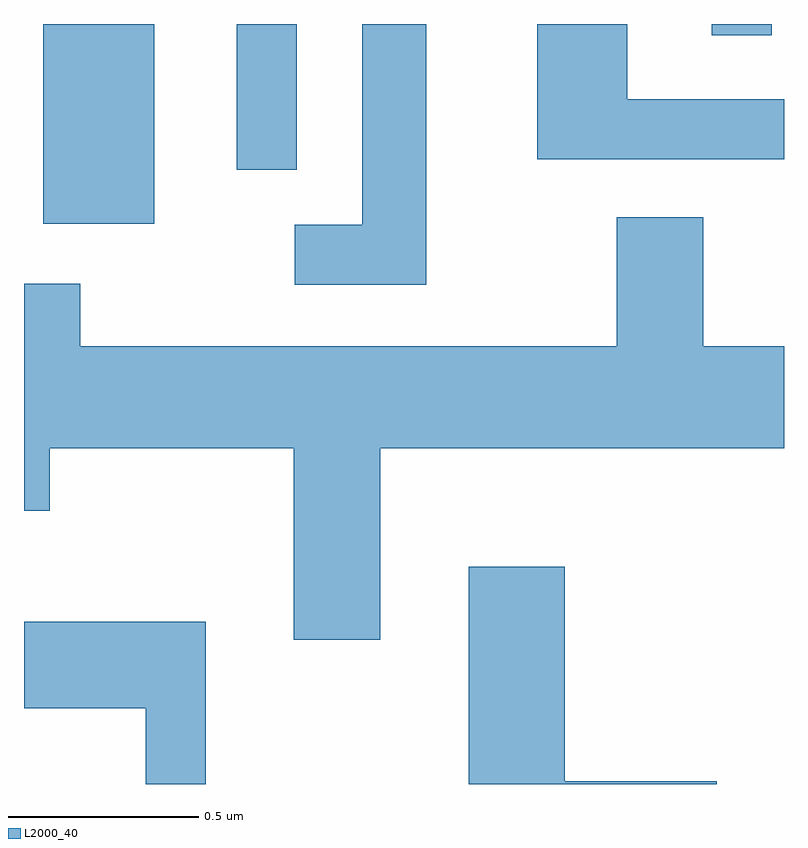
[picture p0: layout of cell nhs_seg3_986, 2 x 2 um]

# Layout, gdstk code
import gdstk
lib = gdstk.Library(unit=1e-6, precision=1e-09)
def R(c, l, rs):  # rectangles x0, y0, x1, y1
    for r in rs: c.add(gdstk.rectangle(r[:2], r[2:], *l))
def P(c, l, *ps):  # polygons
    for p in ps: c.add(gdstk.Polygon(p, *l))
L2000_40 = (2000, 40)

nhs_seg3_986 = lib.new_cell('nhs_seg3_986')
R(nhs_seg3_986, L2000_40, [(192.661,1144.366,192.954,1144.892), (193.171,1144.508,193.329,1144.892), (194.421,1144.863,194.579,1144.892)])
P(nhs_seg3_986, L2000_40, [(193.669,1144.892),(193.501,1144.892),(193.501,1144.364),(193.323,1144.364),(193.323,1144.206),(193.669,1144.206)],
  [(194.611,1144.694),(194.199,1144.694),(194.199,1144.892),(193.961,1144.892),(193.961,1144.536),(194.611,1144.536)],
  [(193.549,1143.776),(194.611,1143.776),(194.611,1144.044),(194.399,1144.044),(194.399,1144.384),(194.171,1144.384),(194.171,1144.044),(192.759,1144.044),(192.759,1144.209),(192.611,1144.209),(192.611,1143.611),(192.679,1143.611),(192.679,1143.776),(193.321,1143.776),(193.321,1143.271),(193.549,1143.271)],
  [(194.434,1142.899),(194.034,1142.899),(194.034,1143.464),(193.781,1143.464),(193.781,1142.892),(194.434,1142.892)],
  [(193.089,1143.319),(192.611,1143.319),(192.611,1143.091),(192.931,1143.091),(192.931,1142.892),(193.089,1142.892)])

lib.write_gds('nhs_seg3_986.gds')
